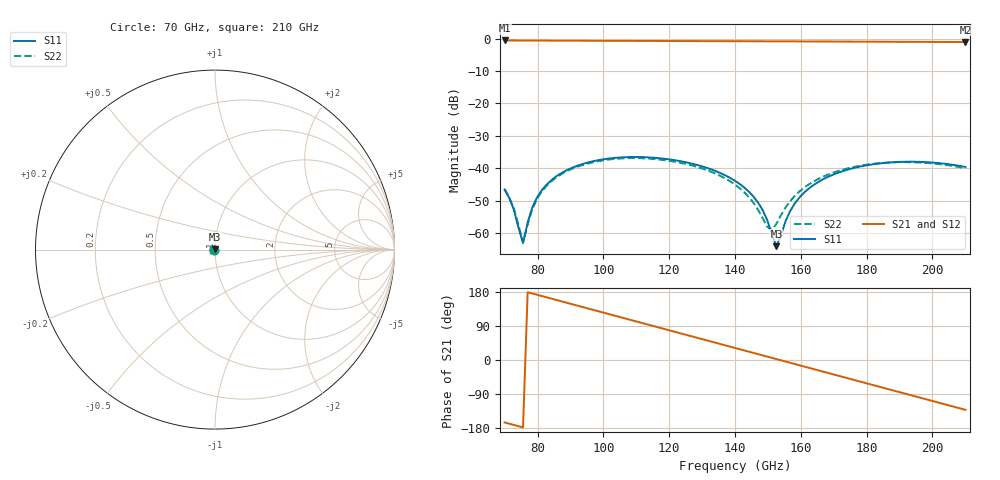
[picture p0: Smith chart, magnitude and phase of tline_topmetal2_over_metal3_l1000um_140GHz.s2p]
#  GHZ S DB R 50
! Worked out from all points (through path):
!   101 points, 70 GHz to 210 GHz, reference 50 ohm
!   highest |S21| = -0.58 dB at 70 GHz (marker M1); lowest = -1.1 dB at 210 GHz (marker M2)
!   group delay of S21, straight-line fit = 6.48 ps
!   lowest |S11| = -64.1 dB at 152.6 GHz (marker M3), VSWR 1.00, Z = 50 + j0.0607 ohm
!   |S11| at or under -10 dB: start of sweep to end of sweep
!   |S22| runs from -62.9 to -36.9 dB; largest |S21 - S12| = 1.6e-13
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70  -46.61 -168.8  -0.58 -164.8  -0.58 -164.8  -46.47 -169.3
72.8  -52.82 174.9  -0.59 -171.4  -0.59 -171.4  -52.45 174.4
75.6  -63.15 82.2  -0.60 -177.9  -0.60 -177.9  -62.88 92.1
78.4  -52.18 13.4  -0.61 175.6  -0.61 175.6  -52.69 15.0
81.2  -46.96 -1.3  -0.62 169.0  -0.62 169.0  -47.34 -0.9
86.8  -41.81 -20.2  -0.63 155.9  -0.63 155.9  -42.12 -20.3
93.8  -38.69 -40.3  -0.66 139.6  -0.66 139.6  -39.01 -40.7
106.4  -36.64 -74.8  -0.70 110.1  -0.70 110.1  -36.96 -75.3
117.6  -37.00 -104.7  -0.74 84.0  -0.74 84.0  -37.42 -105.7
128.8  -39.11 -134.5  -0.78 57.9  -0.78 57.9  -39.73 -136.4
140  -43.92 -166.3  -0.81 31.8  -0.81 31.8  -45.09 -171.2
147  -50.62 168.4  -0.84 15.4  -0.84 15.4  -52.85 152.4
149.8  -56.05 149.7  -0.84 8.9  -0.84 8.9  -58.11 111.3
151.2  -60.35 128.8  -0.85 5.6  -0.85 5.6  -59.10 73.1
152.6  -64.10 76.8  -0.85 2.4  -0.85 2.4  -57.19 38.9
156.8  -53.18 -9.6  -0.87 -7.4  -0.87 -7.4  -50.15 -4.9
159.6  -49.05 -23.6  -0.88 -14.0  -0.88 -14.0  -47.19 -18.9
163.8  -45.26 -38.9  -0.89 -23.8  -0.89 -23.8  -44.16 -35.1
173.6  -40.65 -69.3  -0.93 -46.6  -0.93 -46.6  -40.25 -67.0
187.6  -38.21 -111.0  -0.98 -79.3  -0.98 -79.3  -38.24 -110.3
198.8  -38.20 -145.1  -1.02 -105.4  -1.02 -105.4  -38.44 -145.9
210  -39.64 178.3  -1.06 -131.4  -1.06 -131.4  -40.03 175.3
